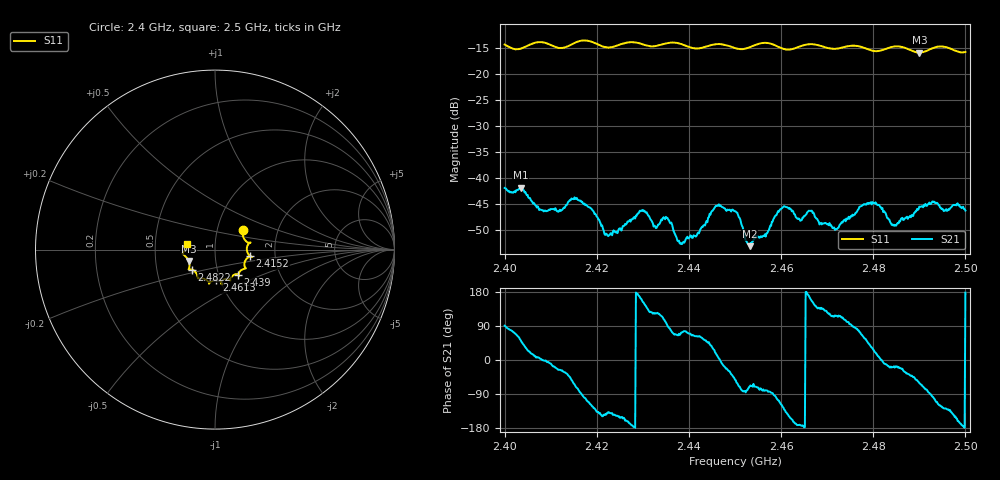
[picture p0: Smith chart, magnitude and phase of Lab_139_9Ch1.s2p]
# Hz S RI R 50
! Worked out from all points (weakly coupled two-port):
!   601 points, 2.4 GHz to 2.5 GHz, reference 50 ohm
!   highest |S21| = -41.92 dB at 2.4035 GHz (marker M1); lowest = -53.2 dB at 2.4532 GHz (marker M2)
!   lowest |S11| = -15.9 dB at 2.49 GHz (marker M3), VSWR 1.38, Z = 36.9 - j4.84 ohm
!   |S11| at or under -10 dB: start of sweep to end of sweep
!   S12 and S22 are empty: the file has one direction only
!   S11 on the Smith chart (normalised r, x): 2.4 GHz: 1.33, +0.31; 2.4152 GHz: 1.48, -0.11; 2.439 GHz: 1.24, -0.36; 2.4613 GHz: 0.96, -0.34; 2.4822 GHz: 0.76, -0.17; 2.5 GHz: 0.72, +0.05
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2.4e9  0.1558 0.1108  -6.69e-05 0.00797  0 0  0 0
2.4035e9  0.166 0.0543  0.00493 0.00632  0 0  0 0
2.408667e9  0.1957 0.0391  0.00482 -0.000164  0 0  0 0
2.415167e9  0.1948 -0.0359  0.00282 -0.00582  0 0  0 0
2.416667e9  0.2045 -0.0419  3.59e-05 -0.00585  0 0  0 0
2.422167e9  0.1689 -0.0615  -0.0022 -0.00182  0 0  0 0
2.429833e9  0.1606 -0.1077  -0.00442 0.00189  0 0  0 0
2.433333e9  0.1326 -0.1327  -0.00188 0.003  0 0  0 0
2.435167e9  0.1324 -0.1456  -0.000345 0.00408  0 0  0 0
2.439e9  0.1278 -0.1389  0.000565 0.0023  0 0  0 0
2.446e9  0.0849 -0.1734  0.00518 0.00127  0 0  0 0
2.45e9  0.0685 -0.1633  0.00293 -0.00375  0 0  0 0
2.453167e9  0.0378 -0.1761  0.000759 -0.00206  0 0  0 0
2.461333e9  0.00772 -0.1708  -0.00408 -0.00321  0 0  0 0
2.464e9  -0.0266 -0.1812  -0.00395 -0.000636  0 0  0 0
2.466667e9  -0.0332 -0.1901  -0.00438 0.00199  0 0  0 0
2.471667e9  -0.0615 -0.1626  -0.00146 0.0028  0 0  0 0
2.478167e9  -0.0976 -0.1474  0.00306 0.00461  0 0  0 0
2.482167e9  -0.1284 -0.1118  0.00465 -0.000486  0 0  0 0
2.483333e9  -0.1396 -0.11  0.00383 -0.0011  0 0  0 0
2.49e9  -0.1469 -0.0639  0.00259 -0.00459  0 0  0 0
2.5e9  -0.1587 0.0339  -0.00483 0.000187  0 0  0 0
